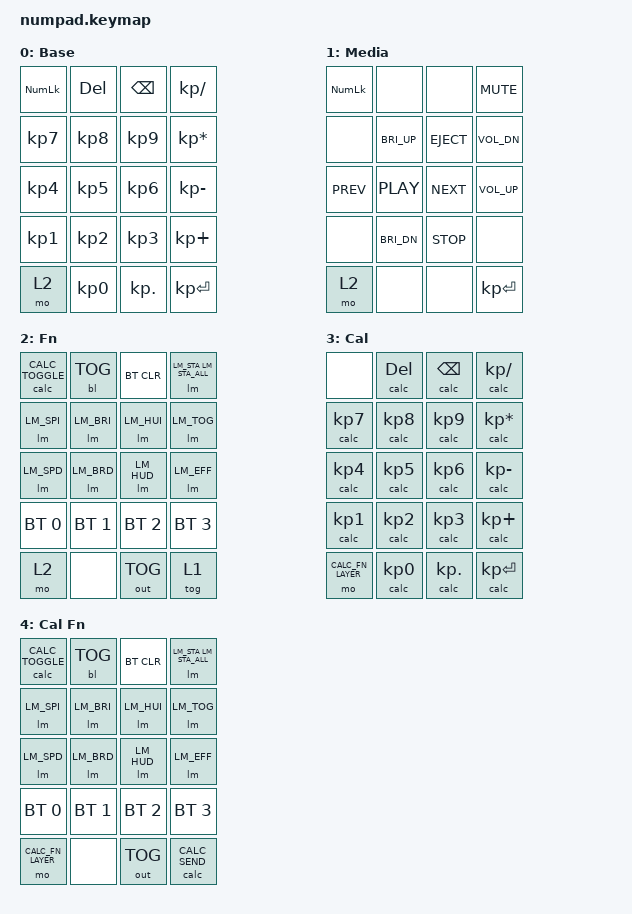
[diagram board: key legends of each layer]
/*
 * Copyright (c) 2021 Nick Winans
 *
 * SPDX-License-Identifier: MIT
 */

#include <behaviors.dtsi>
#include <dt-bindings/numpad-calculator.h>
#include <dt-bindings/zmk/keys.h>
//#include <dt-bindings/zmk/rgb.h>
#include <dt-bindings/zmk/backlight.h>
#include <dt-bindings/zmk/bt.h>
#include <dt-bindings/zmk/outputs.h>
#include <dt-bindings/zmk/led_matrix.h>

/ {

    /* 
    behaviors {  
        htlk: hold_tap_layer_key {
            compatible = "zmk,behavior-hold-tap";
            #binding-cells = <2>;          
            tapping-term-ms = <200>;       
            flavor = "tap-preferred";    
            bindings = <&mo>, <&kp>;     
        };
    };
    


    conditional_layers {
        compatible = "zmk,conditional-layers";
        tri_layer {
            if-layers = <4 6>;
            then-layer = <5>;
        };
    };
*/
    behaviors {
        calc: calculator {
            compatible = "zmk,behavior-numpad-calculator";
            #binding-cells = <1>;
            calculator-layer = <CALC_LAYER>;
            function-layer = <CALC_FN_LAYER>;
            display-name = "Calculator";
        };
        tog_on: toggle_layer_on_only {
            compatible = "zmk,behavior-toggle-layer";
            #binding-cells = <1>;
            display-name = "Toggle Layer On";
            toggle-mode = "on";
        };

		tog_off: toggle_layer_off_only {
            compatible = "zmk,behavior-toggle-layer";
            #binding-cells = <1>;
            display-name = "Toggle Layer Off";
            toggle-mode = "off";
        };
    };

    macros {
        m_w_zoom_in: w_zoom_in_macro {
            compatible = "zmk,behavior-macro";
            #binding-cells = <0>;       
            bindings = 
                <&macro_press &kp LCTRL>,        
                <&macro_tap &kp MINUS>,                  
                <&macro_release &kp LCTRL>;
        };

        m_w_zoom_out: w_zoom_out_macro {
            compatible = "zmk,behavior-macro";
            #binding-cells = <0>;       
            bindings = 
                <&macro_press &kp LCTRL>,        
                <&macro_tap &kp EQUAL>,                  
                <&macro_release &kp LCTRL>;
        };

        m_zoom_in: zoom_in_macro {
            compatible = "zmk,behavior-macro";
            #binding-cells = <0>;       
            bindings = 
                <&macro_press &kp LCMD>,        
                <&macro_tap &kp MINUS>,                  
                <&macro_release &kp LCMD>;
        };

        m_zoom_out: zoom_out_macro {
            compatible = "zmk,behavior-macro";
            #binding-cells = <0>;       
            bindings = 
                <&macro_press &kp LCMD>,        
                <&macro_tap &kp EQUAL>,                  
                <&macro_release &kp LCMD>;
        };

        switch_bt0: switch_to_bt_profile_0 {
            compatible = "zmk,behavior-macro";
            #binding-cells = <0>;
            bindings = <&bt BT_SEL 0>, <&tog_off 1>;
        };

        switch_bt1: switch_to_bt_profile_1 {
            compatible = "zmk,behavior-macro";
            #binding-cells = <0>;
            bindings = <&bt BT_SEL 1>, <&tog_on 1>;
        };

        switch_bt2: switch_to_bt_profile_2 {
            compatible = "zmk,behavior-macro";
            #binding-cells = <0>;
            bindings = <&bt BT_SEL 2>, <&tog_off 1>;
        };

        switch_bt3: switch_to_bt_profile_3 {
            compatible = "zmk,behavior-macro";
            #binding-cells = <0>;
            bindings = <&bt BT_SEL 3>, <&tog_off 1>;
        };


    };

    behaviors {
        gresc: grave_escape {
            compatible = "zmk,behavior-mod-morph";
            #binding-cells = <0>;
            bindings = <&kp ESC>, <&kp GRAVE>;
            mods = <(MOD_LSFT|MOD_RSFT)>;
        };
    };

	keymap {
		compatible = "zmk,keymap";
		
		default_layer {
// ------------------------------------
// | NumLck |   DEL |   BS  |    /  | 
// |    7   |   8   |   9   |    x  |
// |    4   |   5   |   6   |    -  |
// |    1   |   2   |   3   |    +  |
// |  MO(1) |   .   |   0   |    =  |
// ------------------------------------
			display-name = "Base";
			//0
			bindings = <
	&kp KP_NLCK  &kp DEL        &kp BSPC         &kp KP_DIVIDE
	&kp KP_N7    &kp KP_N8      &kp KP_N9        &kp KP_MULTIPLY
	&kp KP_N4    &kp KP_N5      &kp KP_N6        &kp KP_MINUS 
	&kp KP_N1    &kp KP_N2      &kp KP_N3        &kp KP_PLUS  
	&mo 2        &kp KP_N0      &kp KP_DOT       &kp KP_ENTER
			>;
		};

		media_layer {
// ------------------------------------
// | NumLck | 	    | 	    | 	Mute	| 
// |        |In Bri	|Eject	|Volume Down|
// |Previous|Play/PS| Next	|Volume Up	|
// |        |De Bri	|  Stop | 	   		|
// |  MO(1) |       |       |   ENT 	|
// ------------------------------------
			display-name = "Media";  
			//1
			bindings = <
	&kp KP_NLCK  &none         &none            &kp C_MUTE 
	&none        &kp C_BRI_UP  &kp C_EJECT      &kp C_VOL_DN 
	&kp C_PREV   &kp C_PLAY    &kp C_NEXT       &kp C_VOL_UP 
	&none        &kp C_BRI_DN  &kp C_STOP       &none 
	&mo 2        &none         &none            &kp KP_ENTER
				>;
			};

		func_layer {
// --------------------------------------
// |        |        | BT CLR |        | 
// | RGB_SAI| RGB_HUI| RGB_BRI| RGB_TOG| 
// | RGB_SAD| RGB_HUD| RGB_BRD| RGB_EFF| 
// |  BT 0  |  BT 1  |  BT 2  |  BT 2  | 
// |  MO(1) |        |        | tog 1  |
// --------------------------------------
			display-name = "Fn";
			//2
			bindings = <
	&calc CALC_TOGGLE &bl BL_TOG 		&bt BT_CLR      	&lm LM_STA LM_STA_ALL
	&lm LM_SPI      &lm LM_BRI      &lm LM_HUI          &lm LM_TOG
	&lm LM_SPD      &lm LM_BRD      &lm LM_HUD          &lm LM_EFF
	&bt BT_SEL 0 	&bt BT_SEL 1 	&bt BT_SEL 2 		&bt BT_SEL 3 
	&mo 2       	&none 			&out OUT_TOG		&tog 1
			>;
		};

        calculator_layer {
            display-name = "Cal";
            bindings = <
                &none          &calc DEL   &calc BSPC  &calc KP_DIVIDE
                &calc KP_N7    &calc KP_N8 &calc KP_N9 &calc KP_MULTIPLY
                &calc KP_N4    &calc KP_N5 &calc KP_N6 &calc KP_MINUS
                &calc KP_N1    &calc KP_N2 &calc KP_N3 &calc KP_PLUS
                &mo CALC_FN_LAYER &calc KP_N0 &calc KP_DOT &calc KP_ENTER
            >;
        };
        calculator_fn_layer {
            display-name = "Cal Fn";
            bindings = <
                &calc CALC_TOGGLE &bl BL_TOG &bt BT_CLR &lm LM_STA LM_STA_ALL
                &lm LM_SPI &lm LM_BRI &lm LM_HUI &lm LM_TOG
                &lm LM_SPD &lm LM_BRD &lm LM_HUD &lm LM_EFF
                &bt BT_SEL 0 &bt BT_SEL 1 &bt BT_SEL 2 &bt BT_SEL 3
                &mo CALC_FN_LAYER &none &out OUT_TOG &calc CALC_SEND
            >;
        };
	};
};
